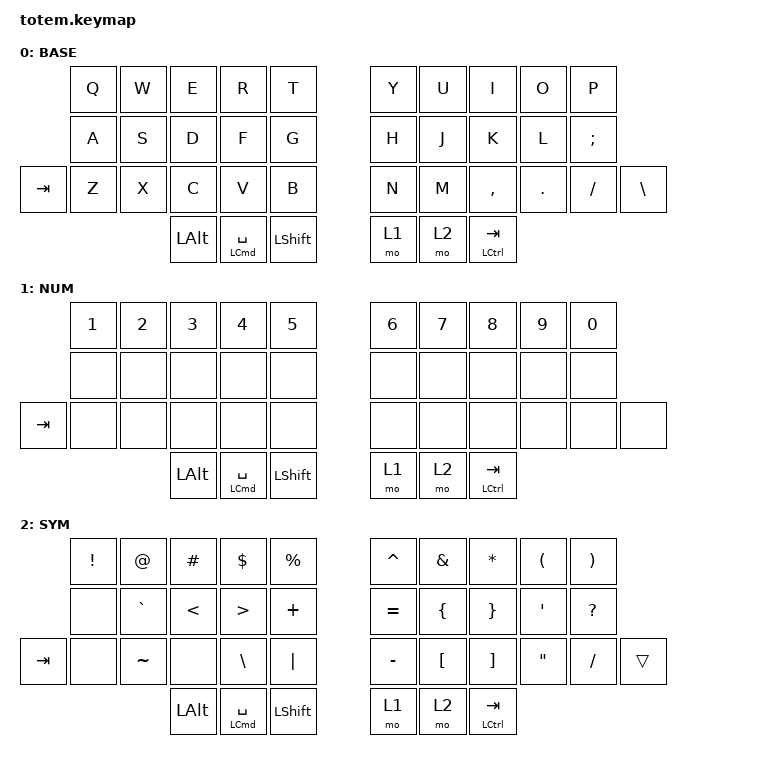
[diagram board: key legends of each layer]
#include <behaviors.dtsi>
#include <dt-bindings/zmk/keys.h>

#define BASE 0
#define NAV  1
#define NUM  2
#define SYM  3
#define FUN  4
#define MEDIA 5
#define MOUSE 6

&mt {
    flavor = "tap-preferred";
    tapping_term_ms = <200>;
};

&mmv {
    time-to-max-speed-ms = <680>;
    acceleration-exponent = <2>;
};

/ {
    behaviors {
        hm: homerow_mods {
            compatible = "zmk,behavior-hold-tap";
            label = "HOMEROW_MODS";
            #binding-cells = <2>;
            tapping-term-ms = <200>;
            quick-tap-ms = <0>;
            flavor = "tap-preferred";
            bindings = <&kp>, <&kp>;
        };

        td: tapdance {
            compatible = "zmk,behavior-hold-tap";
            label = "TAPDANCE";
            #binding-cells = <2>;
            tapping-term-ms = <150>;
            quick-tap-ms = <0>;
            flavor = "tap-preferred";
            bindings = <&kp>, <&kp>;
        };
    };

    combos {
        compatible = "zmk,combos";

        Escape-Right {
            bindings = <&kp ESCAPE>;
            key-positions = <4 3>;
            layers = <0 1 2>;
        };

        BackSpace {
            bindings = <&kp BACKSPACE>;
            key-positions = <8 7>;
        };

        Ent {
            bindings = <&kp ENTER>;
            key-positions = <1 2>;
        };
    };

    keymap {
        compatible = "zmk,keymap";

        base_layer {
            label = "BASE";
            bindings = <
         &kp Q  &kp W  &kp E         &kp R                   &kp T             &kp Y  &kp U  &kp I                 &kp O    &kp P
         &kp A  &kp S  &kp D         &kp F                   &kp G             &kp H  &kp J  &kp K                 &kp L    &kp SEMICOLON
&kp TAB  &kp Z  &kp X  &kp C         &kp V                   &kp B             &kp N  &kp M  &kp COMMA             &kp DOT  &kp FSLH       &kp BACKSLASH
                       &kp LEFT_ALT  &mt LEFT_COMMAND SPACE  &kp LEFT_SHIFT    &mo 1  &mo 2  &mt LEFT_CONTROL TAB
            >;
        };

        num_layer {
            label = "NUM";
            bindings = <
         &kp NUMBER_1  &kp N2  &kp N3        &kp N4                  &kp N5            &kp N6  &kp N7  &kp N8         &kp N9  &kp N0
         &none         &none   &none         &none                   &none             &none   &none   &none          &none   &none
&kp TAB  &none         &none   &none         &none                   &none             &none   &none   &none          &none   &none   &none
                               &kp LEFT_ALT  &mt LEFT_COMMAND SPACE  &kp LEFT_SHIFT    &mo 1   &mo 2   &mt LCTRL TAB
            >;
        };

        sym_layer {
            label = "SYM";
            bindings = <
         &kp EXCL  &kp AT     &kp HASH       &kp DOLLAR              &kp PERCENT       &kp CARET  &kp AMPERSAND     &kp STAR           &kp LEFT_PARENTHESIS  &kp RIGHT_PARENTHESIS
         &none     &kp GRAVE  &kp LESS_THAN  &kp GREATER_THAN        &kp PLUS          &kp EQUAL  &kp LEFT_BRACE    &kp RIGHT_BRACE    &kp SINGLE_QUOTE      &kp QUESTION
&kp TAB  &none     &kp TILDE  &none          &kp BACKSLASH           &kp PIPE          &kp MINUS  &kp LEFT_BRACKET  &kp RIGHT_BRACKET  &kp DOUBLE_QUOTES     &kp SLASH              &trans
                              &kp LALT       &mt LEFT_COMMAND SPACE  &kp LEFT_SHIFT    &mo 1      &mo 2             &mt LCTRL TAB
            >;
        };
    };
};
